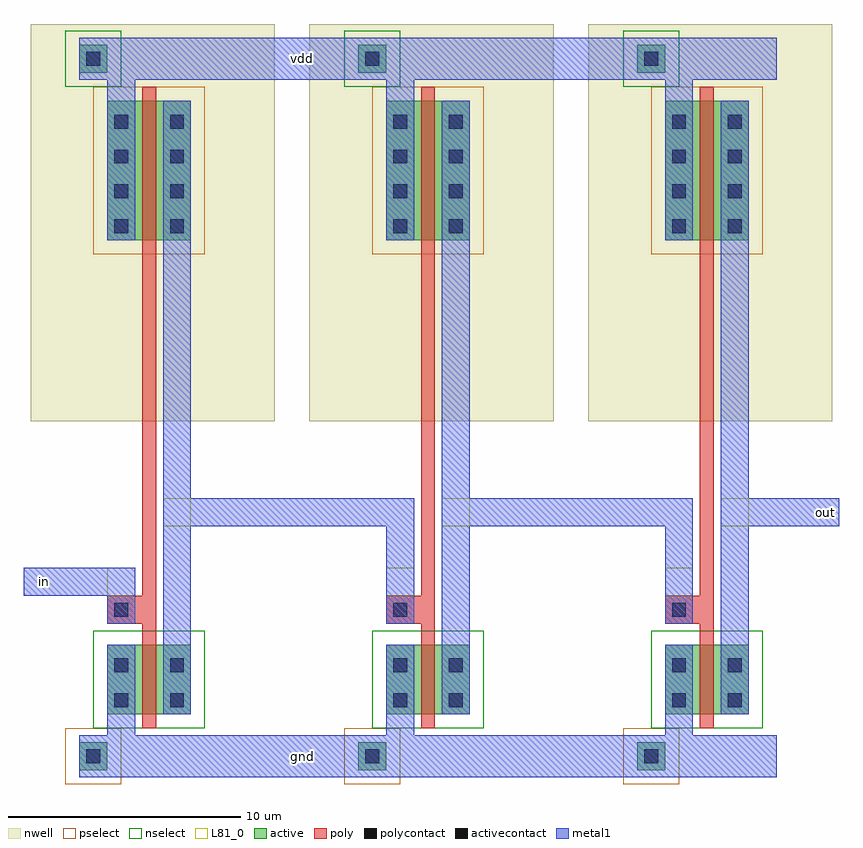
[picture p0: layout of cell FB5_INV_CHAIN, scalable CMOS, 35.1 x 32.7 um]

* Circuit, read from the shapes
.subckt FB5_INV_CHAIN gnd in out vdd
M1 INVX1_1/A in gnd gnd nfet w=3u l=0.6u
M2 INVX1_2/A INVX1_1/A gnd gnd nfet w=3u l=0.6u
M3 out INVX1_2/A gnd gnd nfet w=3u l=0.6u
M4 INVX1_1/A in vdd vdd pfet w=6u l=0.6u
M5 INVX1_2/A INVX1_1/A vdd vdd pfet w=6u l=0.6u
M6 out INVX1_2/A vdd vdd pfet w=6u l=0.6u
.ends

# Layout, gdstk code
import gdstk
lib = gdstk.Library(unit=1e-6, precision=1e-09)
def R(c, l, rs):  # rectangles x0, y0, x1, y1
    for r in rs: c.add(gdstk.rectangle(r[:2], r[2:], *l))
def A(c, l, x, y, w, h, nx, ny, dx, dy):  # array of equal rectangles
    R(c, l, [(x+i*dx, y+j*dy, x+i*dx+w, y+j*dy+h) for i in range(nx) for j in range(ny)])
nwell = (42, 0)
active = (43, 0)
pselect = (44, 0)
nselect = (45, 0)
poly = (46, 0)
polycontact = (47, 0)
activecontact = (48, 0)
metal1 = (49, 0)
L81_0 = (81, 0)

invx1 = lib.new_cell('INVX1')
R(invx1, nwell, [(-2.7,14.4,7.8,31.5)])
R(invx1, active, [(-0.6,-0.6,0.6,0.6), (0.6,1.8,4.2,4.8), (0.6,22.2,4.2,28.2), (-0.6,29.4,0.6,30.6)])
R(invx1, pselect, [(-1.2,-1.2,1.2,1.2), (0,21.6,4.8,28.8)])
R(invx1, nselect, [(0,1.2,4.8,5.4), (-1.2,28.8,1.2,31.2)])
R(invx1, poly, [(2.1,1.2,2.7,5.7), (0.6,5.7,2.7,6.9), (2.1,6.9,2.7,28.8)])
R(invx1, polycontact, [(0.9,6,1.5,6.6)])
A(invx1, activecontact, 0.9, 22.5, 0.6, 0.6, 1, 4, 0, 1.5)
A(invx1, activecontact, 3.3, 22.5, 0.6, 0.6, 1, 4, 0, 1.5)
R(invx1, activecontact, [(-0.3,-0.3,0.3,0.3), (0.9,2.1,1.5,2.7), (3.3,2.1,3.9,2.7), (0.9,3.6,1.5,4.2), (3.3,3.6,3.9,4.2), (-0.3,29.7,0.3,30.3)])
R(invx1, metal1, [(-0.6,-0.9,5.4,0.9), (0.6,0.9,1.8,4.8), (3,1.8,4.2,28.2), (0.6,5.7,1.8,8.1), (0.6,22.2,1.8,29.1), (-0.6,29.1,5.4,30.9)])
R(invx1, L81_0, [(0.6,6.9,1.8,8.1), (3,9.9,4.2,11.1)])
invx1.add(gdstk.Label('A', (1.2,7.5), layer=109, texttype=0))
invx1.add(gdstk.Label('Y', (3.6,10.5), layer=109, texttype=0))
invx1.add(gdstk.Label('vdd', (1.2,30), layer=109, texttype=0))
invx1.add(gdstk.Label('gnd', (1.2,0), layer=109, texttype=0))

fb5_inv_chain = lib.new_cell('FB5_INV_CHAIN')
R(fb5_inv_chain, metal1, [(-0.6,-0.9,29.4,0.9), (-3,6.9,1.8,8.1), (12.6,7.5,13.799,11.1), (24.599,7.5,25.8,11.1), (3,9.9,13.799,11.1), (15,9.9,25.8,11.1), (27,9.9,32.1,11.1), (-0.6,29.1,29.4,30.9)])
fb5_inv_chain.add(gdstk.Reference(invx1, (0,0)))
fb5_inv_chain.add(gdstk.Reference(invx1, (12,0)))
fb5_inv_chain.add(gdstk.Reference(invx1, (24,0)))
fb5_inv_chain.add(gdstk.Label('in', (-2.1,7.5), layer=109, texttype=0))
fb5_inv_chain.add(gdstk.Label('out', (31.5,10.5), layer=109, texttype=0))
fb5_inv_chain.add(gdstk.Label('vdd', (9,30), layer=109, texttype=0))
fb5_inv_chain.add(gdstk.Label('gnd', (9,0), layer=109, texttype=0))

lib.write_gds('FB5_INV_CHAIN.gds')
